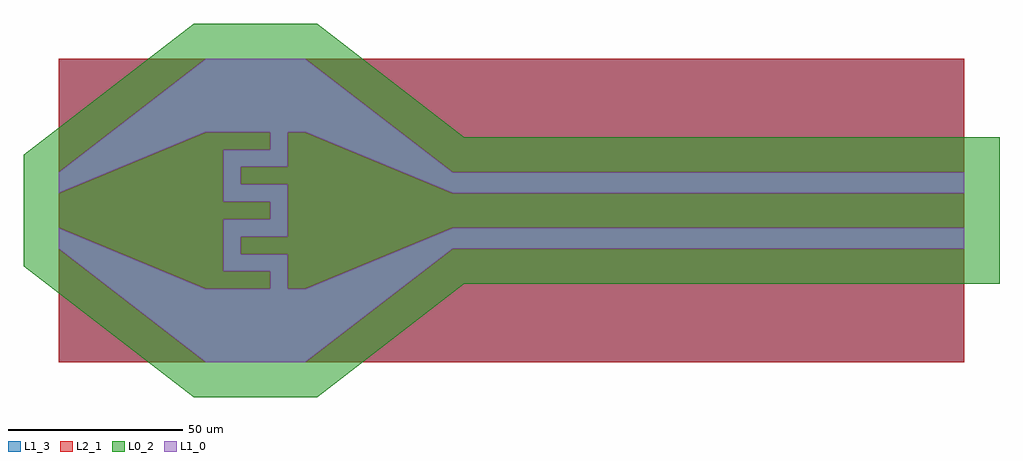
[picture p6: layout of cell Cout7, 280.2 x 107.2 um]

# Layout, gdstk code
import gdstk
lib = gdstk.Library(unit=1e-6, precision=1e-09)
def R(c, l, rs):  # rectangles x0, y0, x1, y1
    for r in rs: c.add(gdstk.rectangle(r[:2], r[2:], *l))
def P(c, l, *ps):  # polygons
    for p in ps: c.add(gdstk.Polygon(p, *l))
L0_2 = (0, 2)
L1_0 = (1, 0)
L1_3 = (1, 3)
L2_1 = (2, 1)

cout7 = lib.new_cell('Cout7')
P(cout7, L0_2, [(-91.198,-53.6),(-140.1,-15.972),(-140.1,15.972),(-91.198,53.6),(-55.736,53.6),(-13.498,21.1),(140.1,21.1),(140.1,-21.1),(-13.498,-21.1),(-55.736,-53.6)])
P(cout7, L1_0, [(-87.762,-43.5),(-130,-11),(-130,-5),(-87.717,-22.5),(-69.217,-22.5),(-69.217,-17.5),(-82.717,-17.5),(-82.717,-2.5),(-69.217,-2.5),(-69.217,2.5),(-82.717,2.5),(-82.717,17.5),(-69.217,17.5),(-69.217,22.5),(-87.717,22.5),(-130,5),(-130,11),(-87.762,43.5),(-59.172,43.5),(-16.934,11),(130,11),(130,5),(-16.934,5),(-59.217,22.5),(-64.217,22.5),(-64.217,12.5),(-77.717,12.5),(-77.717,7.5),(-64.217,7.5),(-64.217,-7.5),(-77.717,-7.5),(-77.717,-12.5),(-64.217,-12.5),(-64.217,-22.5),(-59.217,-22.5),(-16.934,-5),(130,-5),(130,-11),(-16.934,-11),(-59.172,-43.5)])
R(cout7, L1_3, [(-130,-43.5,130,43.5)])
P(cout7, L2_1, [(-130,11),(-130,43.5),(-87.762,43.5)],
  [(-130,-43.5),(-130,-11),(-87.762,-43.5)],
  [(-87.717,-22.5),(-130,-5),(-130,5),(-87.717,22.5),(-69.217,22.5),(-69.217,17.5),(-82.717,17.5),(-82.717,2.5),(-69.217,2.5),(-69.217,-2.5),(-82.717,-2.5),(-82.717,-17.5),(-69.217,-17.5),(-69.217,-22.5)],
  [(-64.217,-22.5),(-64.217,-12.5),(-77.717,-12.5),(-77.717,-7.5),(-64.217,-7.5),(-64.217,7.5),(-77.717,7.5),(-77.717,12.5),(-64.217,12.5),(-64.217,22.5),(-59.217,22.5),(-16.934,5),(130,5),(130,-5),(-16.934,-5),(-59.217,-22.5)],
  [(-59.172,-43.5),(-16.934,-11),(130,-11),(130,-43.5)],
  [(-16.934,11),(-59.172,43.5),(130,43.5),(130,11)])

lib.write_gds('Cout7.gds')
